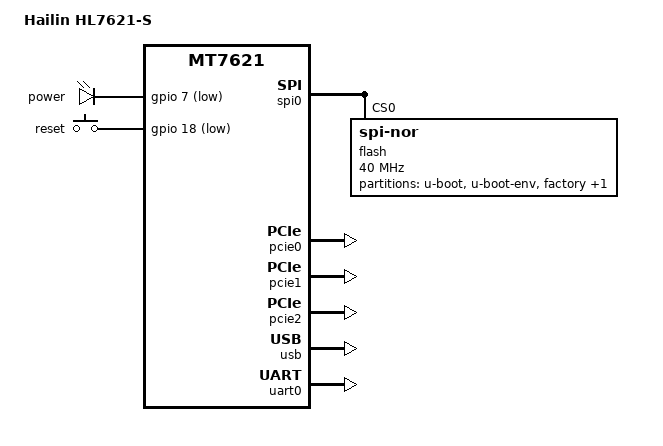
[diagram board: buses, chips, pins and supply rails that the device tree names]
/dts-v1/;

#include "mt7621.dtsi"
#include <dt-bindings/gpio/gpio.h>
#include <dt-bindings/input/input.h>

/ {
	compatible = "hailin,hl7621-s", "mediatek,mt7621-soc";
	model = "Hailin HL7621-S";

	aliases {
		led-boot = &led_power;
		led-failsafe = &led_power;
		led-running = &led_power;
		led-upgrade = &led_power;
		label-mac-device = &gmac0;
	};

	chosen {
		bootargs = "console=ttyS0,115200";
	};

	leds {
		compatible = "gpio-leds";
		led_power: power {
			label = "power";
			gpios = <&gpio 7 GPIO_ACTIVE_LOW>;
		};
	};

	keys {
		compatible = "gpio-keys";
		reset {
			label = "reset";
			gpios = <&gpio 18 GPIO_ACTIVE_LOW>;
			linux,code = <KEY_RESTART>;
		};
	};
};

&spi0 {
	status = "okay";

	flash@0 {
		compatible = "jedec,spi-nor";
		reg = <0x0 0x2000000>;
		spi-max-frequency = <40000000>;
		broken-flash-reset;  /* MT7621经典修复，解决reboot死循环 */

		partitions {
			compatible = "fixed-partitions";
			#address-cells = <1>;
			#size-cells = <1>;

			partition@0 {
				label = "u-boot";
				reg = <0x000000 0x050000>;
				read-only;
			};

			partition@50000 {
				label = "u-boot-env";
				reg = <0x050000 0x010000>;
			};

			factory: partition@60000 {
				label = "factory";
				reg = <0x060000 0x010000>;
				read-only; /* WiFi校准数据，禁止覆盖！ */
			};

			partition@70000 {
				label = "firmware";
				reg = <0x070000 0x1f90000>;
			};
		};
	};
};

&gmac0 {
	mtd-mac-address = <&factory 0x0004>;
};

&gmac1 {
	status = "disabled";
};

&switch0 {
	ports {
		port@0 {
			status = "okay";
			label = "wan";
		};
		port@1 {
			status = "okay";
			label = "lan1";
		};
		port@2 {
			status = "okay";
			label = "lan2";
		};
		port@3 {
			status = "okay";
			label = "lan3";
		};
		port@4 {
			status = "okay";
			label = "lan4";
		};
	};
};

&pcie0 {
	status = "okay";
};

&pcie1 {
	status = "okay";
};

&pcie2 {
	status = "okay";
};

&usb {
	status = "okay";
};

&uart0 {
	status = "okay";
};
